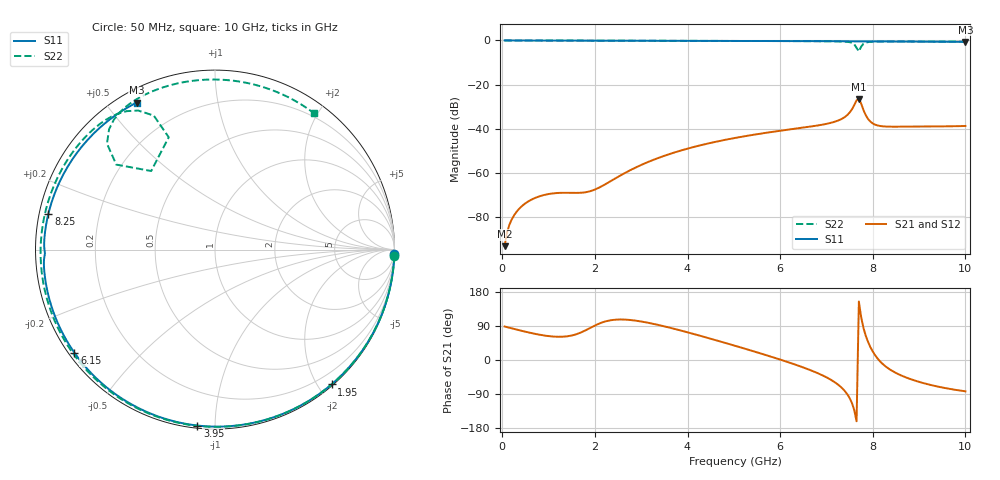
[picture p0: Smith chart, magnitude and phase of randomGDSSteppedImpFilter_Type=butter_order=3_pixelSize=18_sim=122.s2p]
! freq	dB(S11)	phase(S11)	dB(S12)	phase(S12)
!  dB(S21)	phase(S21)	dB(S22)	phase(S22)
!S-par simulation data
#  GHz  S  DB  R 50
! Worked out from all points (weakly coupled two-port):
!   200 points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, 50 MHz to 10 GHz, reference 50 ohm
!   highest |S21| = -26.46 dB at 7.7 GHz (marker M1); lowest = -93.2 dB at 50 MHz (marker M2)
!   lowest |S11| = -0.6 dB at 10 GHz (marker M3), VSWR 26.80, Z = 2.54 + j29.9 ohm
!   |S11| at or under -10 dB: nowhere
!   |S22| runs from -5.0 to 0.0 dB; largest |S21 - S12| = 0
!   S11 on the Smith chart (normalised r, x): 50 MHz: 0, -88; 1.95 GHz: 0.02, -2.19; 3.95 GHz: 0.01, -0.90; 6.15 GHz: 0.02, -0.33; 8.25 GHz: 0.03, +0.11; 10 GHz: 0.05, +0.60
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0.05  -0.00 -1.3  -93.16 88.4  -93.16 88.4  -0.00 -2.0
0.2  -0.01 -5.2  -81.21 83.7  -81.21 83.7  -0.01 -7.8
0.5  -0.02 -12.8  -73.74 74.6  -73.74 74.6  -0.03 -19.4
0.8  -0.03 -20.5  -70.60 66.8  -70.60 66.8  -0.04 -30.8
1.75  -0.06 -44.3  -68.87 75.5  -68.87 75.5  -0.08 -65.5
1.95  -0.06 -49.2  -67.91 88.0  -67.91 88.0  -0.09 -72.4
2.65  -0.08 -65.9  -60.00 106.6  -60.00 106.6  -0.11 -95.4
3.4  -0.11 -83.3  -52.98 91.6  -52.98 91.6  -0.14 -118.2
3.95  -0.13 -95.7  -49.28 74.7  -49.28 74.7  -0.16 -134.0
5.05  -0.18 -119.9  -44.05 36.7  -44.05 36.7  -0.21 -164.0
6.15  -0.25 -143.7  -40.47 -4.8  -40.47 -4.8  -0.28 166.5
6.7  -0.30 -155.8  -38.87 -29.1  -38.87 -29.1  -0.33 151.3
7.3  -0.35 -169.5  -35.83 -70.0  -35.83 -70.0  -0.46 132.2
7.55  -0.39 -175.4  -31.19 -113.5  -31.19 -113.5  -1.06 118.9
7.65  -0.44 -177.8  -27.12 -161.7  -27.12 -161.7  -3.39 112.4
7.7  -0.47 -178.8  -26.46 154.4  -26.46 154.4  -4.98 129.1
7.8  -0.43 179.1  -31.56 84.0  -31.56 84.0  -1.48 135.6
7.95  -0.42 175.4  -36.78 33.7  -36.78 33.7  -0.63 125.0
8.25  -0.45 167.8  -38.94 -14.2  -38.94 -14.2  -0.46 112.7
8.35  -0.46 165.3  -39.04 -23.4  -39.04 -23.4  -0.46 109.3
9.2  -0.56 142.4  -38.94 -64.4  -38.94 -64.4  -0.48 81.4
10  -0.65 118.1  -38.72 -82.7  -38.72 -82.7  -0.55 54.2
